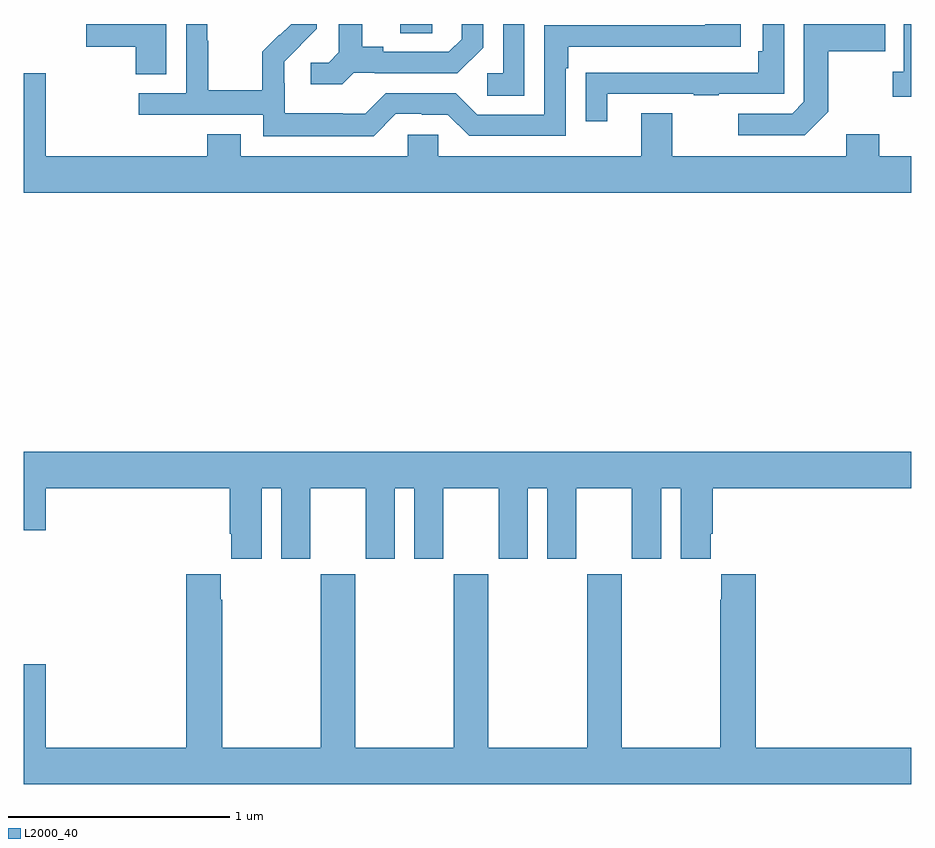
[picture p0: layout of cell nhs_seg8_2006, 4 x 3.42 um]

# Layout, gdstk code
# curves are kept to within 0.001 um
import gdstk
lib = gdstk.Library(unit=1e-6, precision=1e-09)
def R(c, l, rs):  # rectangles x0, y0, x1, y1
    for r in rs: c.add(gdstk.rectangle(r[:2], r[2:], *l))
def P(c, l, *ps):  # polygons
    for p in ps: c.add(gdstk.Polygon(p, *l))
L2000_40 = (2000, 40)

nhs_seg8_2006 = lib.new_cell('nhs_seg8_2006')
R(nhs_seg8_2006, L2000_40, [(238.697,1143.859,238.842,1143.9)])
P(nhs_seg8_2006, L2000_40, [(238.677,1143.495),(238.793,1143.495),(238.793,1143.492),(238.911,1143.492),(239.007,1143.396),(239.442,1143.396),(239.442,1143.701),(239.455,1143.701),(239.455,1143.798),(240.232,1143.798),(240.232,1143.9),(240.071,1143.9),(240.071,1143.894),(239.346,1143.894),(239.346,1143.492),(239.043,1143.492),(238.947,1143.588),(238.632,1143.588),(238.539,1143.495),(238.439,1143.495),(238.439,1143.499),(238.176,1143.499),(238.176,1143.633),(238.174,1143.633),(238.174,1143.73),(238.32,1143.878),(238.32,1143.9),(238.206,1143.9),(238.155,1143.849),(238.152,1143.852),(238.075,1143.775),(238.075,1143.601),(237.831,1143.601),(237.831,1143.824),(237.828,1143.824),(237.828,1143.9),(237.732,1143.9),(237.732,1143.588),(237.519,1143.588),(237.519,1143.492),(238.08,1143.492),(238.08,1143.395),(238.577,1143.395)],
  [(241,1143.9),(240.966,1143.9),(240.966,1143.686),(240.915,1143.686),(240.915,1143.573),(241,1143.573)],
  [(240.625,1143.505),(240.625,1143.778),(240.881,1143.778),(240.881,1143.9),(240.516,1143.9),(240.516,1143.549),(240.462,1143.495),(240.219,1143.495),(240.219,1143.399),(240.519,1143.399)],
  [(239.629,1143.585),(240.019,1143.585),(240.019,1143.58),(240.131,1143.58),(240.131,1143.585),(240.426,1143.585),(240.426,1143.9),(240.33,1143.9),(240.33,1143.778),(240.31,1143.778),(240.31,1143.681),(239.635,1143.681),(239.635,1143.68),(239.533,1143.68),(239.533,1143.462),(239.629,1143.462)],
  [(237.643,1143.9),(237.282,1143.9),(237.282,1143.797),(237.505,1143.797),(237.505,1143.673),(237.643,1143.673)],
  [(239.256,1143.9),(239.16,1143.9),(239.16,1143.678),(239.088,1143.678),(239.088,1143.577),(239.256,1143.577)],
  [(238.488,1143.681),(238.582,1143.681),(238.582,1143.678),(238.954,1143.678),(239.07,1143.794),(239.07,1143.9),(238.973,1143.9),(238.973,1143.831),(238.916,1143.774),(238.621,1143.774),(238.621,1143.797),(238.525,1143.797),(238.525,1143.9),(238.421,1143.9),(238.421,1143.773),(238.374,1143.726),(238.293,1143.726),(238.293,1143.629),(238.436,1143.629)],
  [(241,1143.304),(240.855,1143.304),(240.855,1143.403),(240.707,1143.403),(240.707,1143.304),(239.923,1143.304),(239.923,1143.499),(239.783,1143.499),(239.783,1143.304),(238.869,1143.304),(238.869,1143.402),(238.731,1143.402),(238.731,1143.304),(237.979,1143.304),(237.979,1143.403),(237.827,1143.403),(237.827,1143.304),(237.1,1143.304),(237.1,1143.679),(237,1143.679),(237,1143.14),(241,1143.14)],
  [(238.072,1141.808),(238.16,1141.808),(238.16,1141.491),(238.291,1141.491),(238.291,1141.808),(238.541,1141.808),(238.541,1141.491),(238.672,1141.491),(238.672,1141.808),(238.76,1141.808),(238.76,1141.491),(238.891,1141.491),(238.891,1141.808),(239.141,1141.808),(239.141,1141.491),(239.272,1141.491),(239.272,1141.808),(239.36,1141.808),(239.36,1141.491),(239.491,1141.491),(239.491,1141.808),(239.741,1141.808),(239.741,1141.491),(239.872,1141.491),(239.872,1141.808),(239.96,1141.808),(239.96,1141.491),(240.097,1141.491),(240.097,1141.603),(240.104,1141.603),(240.104,1141.808),(241,1141.808),(241,1141.972),(237,1141.972),(237,1141.62),(237.1,1141.62),(237.1,1141.808),(237.929,1141.808),(237.929,1141.603),(237.935,1141.603),(237.935,1141.491),(238.072,1141.491)],
  [(241,1140.64),(240.299,1140.64),(240.299,1141.42),(240.143,1141.42),(240.143,1141.307),(240.139,1141.307),(240.139,1140.64),(239.694,1140.64),(239.694,1141.42),(239.539,1141.42),(239.539,1140.64),(239.094,1140.64),(239.094,1141.42),(238.939,1141.42),(238.939,1140.64),(238.494,1140.64),(238.494,1141.42),(238.339,1141.42),(238.339,1140.64),(237.894,1140.64),(237.894,1141.307),(237.889,1141.307),(237.889,1141.42),(237.734,1141.42),(237.734,1140.64),(237.1,1140.64),(237.1,1141.015),(237,1141.015),(237,1140.476),(241,1140.476)])

lib.write_gds('nhs_seg8_2006.gds')
